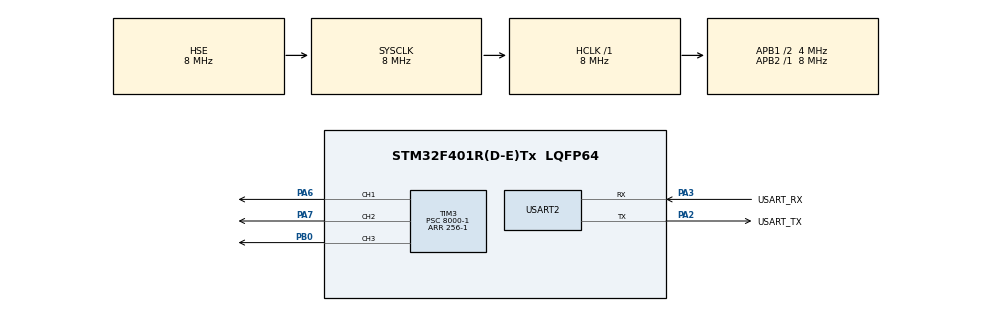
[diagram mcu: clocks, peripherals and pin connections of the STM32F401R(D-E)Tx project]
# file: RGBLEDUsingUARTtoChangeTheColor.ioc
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Mcu.Family=STM32F4
Mcu.Name=STM32F401R(D-E)Tx
Mcu.Package=LQFP64
NVIC.PriorityGroup=NVIC_PRIORITYGROUP_0
NVIC.USART2_IRQn=true\:0\:0\:false\:false\:true\:true\:true\:true
PA13.GPIO_Label=TMS
PA13.Mode=Serial_Wire
PA13.Signal=SYS_JTMS-SWDIO
PA14.GPIO_Label=TCK
PA14.Mode=Serial_Wire
PA14.Signal=SYS_JTCK-SWCLK
PA2.GPIO_Label=USART_TX
PA2.GPIO_Mode=GPIO_MODE_AF_PP
PA2.GPIO_PuPd=GPIO_NOPULL
PA2.GPIO_Speed=GPIO_SPEED_FREQ_LOW
PA2.Mode=Asynchronous
PA2.Signal=USART2_TX
PA3.GPIO_Label=USART_RX
PA3.GPIO_Mode=GPIO_MODE_AF_PP
PA3.GPIO_PuPd=GPIO_NOPULL
PA3.GPIO_Speed=GPIO_SPEED_FREQ_LOW
PA3.Mode=Asynchronous
PA3.Signal=USART2_RX
PA6.Signal=S_TIM3_CH1
PA7.Signal=S_TIM3_CH2
PB0.Signal=S_TIM3_CH3
PH0\ -\ OSC_IN.Mode=HSE-External-Clock-Source
PH0\ -\ OSC_IN.Signal=RCC_OSC_IN
PH1\ -\ OSC_OUT.Mode=HSE-External-Clock-Source
PH1\ -\ OSC_OUT.Signal=RCC_OSC_OUT
ProjectManager.HeapSize=0x200
ProjectManager.StackSize=0x400
ProjectManager.TargetToolchain=CMake
RCC.48MHZClocksFreq_Value=24000000
RCC.AHBFreq_Value=8000000
RCC.APB1CLKDivider=RCC_HCLK_DIV2
RCC.APB1Freq_Value=4000000
RCC.APB1TimFreq_Value=8000000
RCC.APB2Freq_Value=8000000
RCC.APB2TimFreq_Value=8000000
RCC.CortexFreq_Value=8000000
RCC.HCLKFreq_Value=8000000
RCC.HSE_VALUE=8000000
RCC.HSI_VALUE=16000000
RCC.PLLN=336
RCC.PLLP=RCC_PLLP_DIV4
RCC.PLLQ=7
RCC.PLLSourceVirtual=RCC_PLLSOURCE_HSE
RCC.SYSCLKFreq_VALUE=8000000
RCC.SYSCLKSource=RCC_SYSCLKSOURCE_HSE
RCC.VCOOutputFreq_Value=168000000
SH.S_TIM3_CH1.0=TIM3_CH1,PWM Generation1 CH1
SH.S_TIM3_CH2.0=TIM3_CH2,PWM Generation2 CH2
SH.S_TIM3_CH3.0=TIM3_CH3,PWM Generation3 CH3
TIM3.Channel-PWM\ Generation1\ CH1=TIM_CHANNEL_1
TIM3.Channel-PWM\ Generation2\ CH2=TIM_CHANNEL_2
TIM3.Channel-PWM\ Generation3\ CH3=TIM_CHANNEL_3
TIM3.Period=256-1
TIM3.Prescaler=8000-1
USART2.VirtualMode=VM_ASYNC
board=NUCLEO-F401RE

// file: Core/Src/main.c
/* USER CODE BEGIN Header */
/**
  ******************************************************************************
  * @file           : main.c
  * @brief          : Main program body
  ******************************************************************************
  * @attention
  *
  * Copyright (c) 2025 STMicroelectronics.
  * All rights reserved.
  *
  * This software is licensed under terms that can be found in the LICENSE file
  * in the root directory of this software component.
  * If no LICENSE file comes with this software, it is provided AS-IS.
  *
  ******************************************************************************
  */
/* USER CODE END Header */
#include "main.h"

/* USER CODE BEGIN Includes */
#include <string.h>
#include <stdio.h>
#include <stdlib.h>

uint8_t colorCode[8] = "#FFFFFF";

/* USER CODE END Includes */

TIM_HandleTypeDef htim3;

UART_HandleTypeDef huart2;

void SystemClock_Config(void);
static void MX_GPIO_Init(void);
static void MX_TIM3_Init(void);
static void MX_USART2_UART_Init(void);

/* USER CODE BEGIN 0 */
typedef struct
{
  uint8_t red, green , blue;
}LED;

void HAL_UART_RxCpltCallback(UART_HandleTypeDef *huart){

  if(huart->Instance == USART2){
    UART_Start_Receive_IT(&huart2,(uint8_t *)colorCode,7);
  }

}

uint8_t HexToNumber(const char * singleSolor){
  return (uint8_t )strtol(singleSolor,NULL,16);
}

void LEDColorHandler(){
  LED led;
  char subColor[3];
  subColor[2]  = '\0';

  strncpy(subColor,&colorCode[1],2);
  led.red = HexToNumber(subColor);
  __HAL_TIM_SET_COMPARE(&htim3,TIM_CHANNEL_1, led.red);

  strncpy(subColor,&colorCode[3],2);
  led.green = HexToNumber(subColor);
   __HAL_TIM_SET_COMPARE(&htim3,TIM_CHANNEL_2, led.green);

  strncpy(subColor,&colorCode[5],2);
  led.blue = HexToNumber(subColor);
   __HAL_TIM_SET_COMPARE(&htim3,TIM_CHANNEL_3, led.blue);

}

/* USER CODE END 0 */

int main(void)
{

  /* MCU Configuration--------------------------------------------------------*/

  /* Reset of all peripherals, Initializes the Flash interface and the Systick. */
  HAL_Init();

  /* Configure the system clock */
  SystemClock_Config();

  /* Initialize all configured peripherals */
  MX_GPIO_Init();
  MX_TIM3_Init();
  MX_USART2_UART_Init();
  /* USER CODE BEGIN 2 */

  UART_Start_Receive_IT(&huart2,colorCode,7);

  HAL_TIM_PWM_Start(&htim3,TIM_CHANNEL_1);
  HAL_TIM_PWM_Start(&htim3,TIM_CHANNEL_2);
  HAL_TIM_PWM_Start(&htim3,TIM_CHANNEL_3);

  /* USER CODE END 2 */

  /* Infinite loop */
  /* USER CODE BEGIN WHILE */
  while (1)
  {

    LEDColorHandler();

    /* USER CODE END WHILE */

  }
}

void SystemClock_Config(void)
{
  RCC_OscInitTypeDef RCC_OscInitStruct = {0};
  RCC_ClkInitTypeDef RCC_ClkInitStruct = {0};

  /** Configure the main internal regulator output voltage
  */
  __HAL_RCC_PWR_CLK_ENABLE();
  __HAL_PWR_VOLTAGESCALING_CONFIG(PWR_REGULATOR_VOLTAGE_SCALE2);

  /** Initializes the RCC Oscillators according to the specified parameters
  * in the RCC_OscInitTypeDef structure.
  */
  RCC_OscInitStruct.OscillatorType = RCC_OSCILLATORTYPE_HSE;
  RCC_OscInitStruct.HSEState = RCC_HSE_BYPASS;
  RCC_OscInitStruct.PLL.PLLState = RCC_PLL_NONE;
  if (HAL_RCC_OscConfig(&RCC_OscInitStruct) != HAL_OK)
  {
    Error_Handler();
  }

  /** Initializes the CPU, AHB and APB buses clocks
  */
  RCC_ClkInitStruct.ClockType = RCC_CLOCKTYPE_HCLK|RCC_CLOCKTYPE_SYSCLK
                              |RCC_CLOCKTYPE_PCLK1|RCC_CLOCKTYPE_PCLK2;
  RCC_ClkInitStruct.SYSCLKSource = RCC_SYSCLKSOURCE_HSE;
  RCC_ClkInitStruct.AHBCLKDivider = RCC_SYSCLK_DIV1;
  RCC_ClkInitStruct.APB1CLKDivider = RCC_HCLK_DIV2;
  RCC_ClkInitStruct.APB2CLKDivider = RCC_HCLK_DIV1;

  if (HAL_RCC_ClockConfig(&RCC_ClkInitStruct, FLASH_LATENCY_0) != HAL_OK)
  {
    Error_Handler();
  }
}

static void MX_TIM3_Init(void)
{

  TIM_MasterConfigTypeDef sMasterConfig = {0};
  TIM_OC_InitTypeDef sConfigOC = {0};

  htim3.Instance = TIM3;
  htim3.Init.Prescaler = 8-1;
  htim3.Init.CounterMode = TIM_COUNTERMODE_UP;
  htim3.Init.Period = 256-1;
  htim3.Init.ClockDivision = TIM_CLOCKDIVISION_DIV1;
  htim3.Init.AutoReloadPreload = TIM_AUTORELOAD_PRELOAD_DISABLE;
  if (HAL_TIM_PWM_Init(&htim3) != HAL_OK)
  {
    Error_Handler();
  }
  sMasterConfig.MasterOutputTrigger = TIM_TRGO_RESET;
  sMasterConfig.MasterSlaveMode = TIM_MASTERSLAVEMODE_DISABLE;
  if (HAL_TIMEx_MasterConfigSynchronization(&htim3, &sMasterConfig) != HAL_OK)
  {
    Error_Handler();
  }
  sConfigOC.OCMode = TIM_OCMODE_PWM1;
  sConfigOC.Pulse = 0;
  sConfigOC.OCPolarity = TIM_OCPOLARITY_HIGH;
  sConfigOC.OCFastMode = TIM_OCFAST_DISABLE;
  if (HAL_TIM_PWM_ConfigChannel(&htim3, &sConfigOC, TIM_CHANNEL_1) != HAL_OK)
  {
    Error_Handler();
  }
  if (HAL_TIM_PWM_ConfigChannel(&htim3, &sConfigOC, TIM_CHANNEL_2) != HAL_OK)
  {
    Error_Handler();
  }
  if (HAL_TIM_PWM_ConfigChannel(&htim3, &sConfigOC, TIM_CHANNEL_3) != HAL_OK)
  {
    Error_Handler();
  }
  HAL_TIM_MspPostInit(&htim3);

}

static void MX_USART2_UART_Init(void)
{

  huart2.Instance = USART2;
  huart2.Init.BaudRate = 115200;
  huart2.Init.WordLength = UART_WORDLENGTH_8B;
  huart2.Init.StopBits = UART_STOPBITS_1;
  huart2.Init.Parity = UART_PARITY_NONE;
  huart2.Init.Mode = UART_MODE_TX_RX;
  huart2.Init.HwFlowCtl = UART_HWCONTROL_NONE;
  huart2.Init.OverSampling = UART_OVERSAMPLING_16;
  if (HAL_UART_Init(&huart2) != HAL_OK)
  {
    Error_Handler();
  }

}

static void MX_GPIO_Init(void)
{

  /* GPIO Ports Clock Enable */
  __HAL_RCC_GPIOH_CLK_ENABLE();
  __HAL_RCC_GPIOA_CLK_ENABLE();
  __HAL_RCC_GPIOB_CLK_ENABLE();

}

void Error_Handler(void)
{
  __disable_irq();
  while (1)
  {
  }
}
